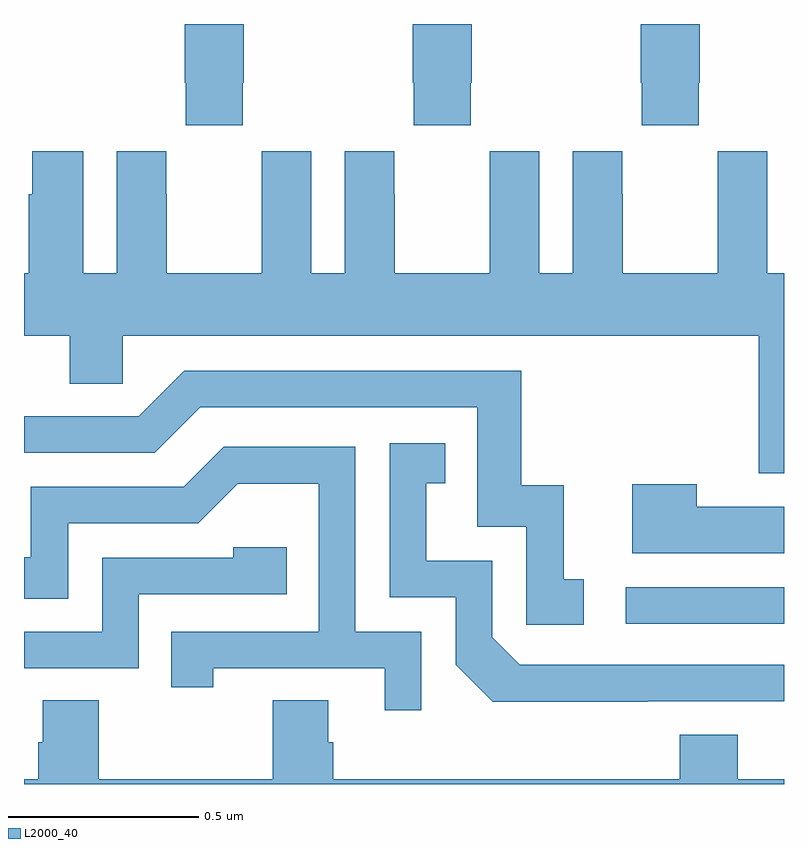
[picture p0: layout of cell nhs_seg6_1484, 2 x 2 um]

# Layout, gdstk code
import gdstk
lib = gdstk.Library(unit=1e-6, precision=1e-09)
def R(c, l, rs):  # rectangles x0, y0, x1, y1
    for r in rs: c.add(gdstk.rectangle(r[:2], r[2:], *l))
def P(c, l, *ps):  # polygons
    for p in ps: c.add(gdstk.Polygon(p, *l))
L2000_40 = (2000, 40)

nhs_seg6_1484 = lib.new_cell('nhs_seg6_1484')
R(nhs_seg6_1484, L2000_40, [(131.583,935.922,132,936.018)])
P(nhs_seg6_1484, L2000_40, [(131.775,937.345),(131.778,937.345),(131.778,937.5),(131.623,937.5),(131.623,937.345),(131.625,937.345),(131.625,937.233),(131.775,937.233)],
  [(131.175,937.345),(131.178,937.345),(131.178,937.5),(131.023,937.5),(131.023,937.345),(131.025,937.345),(131.025,937.233),(131.175,937.233)],
  [(130.575,937.345),(130.578,937.345),(130.578,937.5),(130.423,937.5),(130.423,937.345),(130.425,937.345),(130.425,937.233),(130.575,937.233)],
  [(132,936.844),(131.956,936.844),(131.956,937.165),(131.826,937.165),(131.826,937.052),(131.825,937.052),(131.825,936.844),(131.575,936.844),(131.575,937.052),(131.574,937.052),(131.574,937.165),(131.444,937.165),(131.444,936.844),(131.356,936.844),(131.356,937.165),(131.226,937.165),(131.226,937.052),(131.225,937.052),(131.225,936.844),(130.975,936.844),(130.975,937.052),(130.974,937.052),(130.974,937.165),(130.844,937.165),(130.844,936.844),(130.756,936.844),(130.756,937.165),(130.626,937.165),(130.626,937.052),(130.625,937.052),(130.625,936.844),(130.375,936.844),(130.375,937.052),(130.374,937.052),(130.374,937.165),(130.244,937.165),(130.244,936.844),(130.156,936.844),(130.156,937.165),(130.022,937.165),(130.022,937.052),(130.013,937.052),(130.013,936.844),(130,936.844),(130,936.68),(130.121,936.68),(130.121,936.553),(130.26,936.553),(130.26,936.68),(131.933,936.68),(131.933,936.318),(132,936.318)],
  [(131.473,936.039),(131.42,936.039),(131.42,936.286),(131.309,936.286),(131.309,936.588),(130.422,936.588),(130.302,936.468),(130,936.468),(130,936.372),(130.344,936.372),(130.464,936.492),(131.193,936.492),(131.193,936.177),(131.322,936.177),(131.322,935.919),(131.473,935.919)],
  [(131.642,935.718),(132,935.718),(132,935.814),(131.304,935.814),(131.232,935.886),(131.232,936.087),(131.059,936.087),(131.059,936.291),(131.108,936.291),(131.108,936.397),(130.962,936.397),(130.962,935.991),(131.136,935.991),(131.136,935.814),(131.234,935.717),(131.642,935.717)],
  [(131.046,935.901),(130.872,935.901),(130.872,936.387),(130.526,936.387),(130.421,936.282),(130.018,936.282),(130.018,936.097),(130,936.097),(130,935.988),(130.116,935.988),(130.116,936.186),(130.458,936.186),(130.562,936.29),(130.776,936.29),(130.776,935.901),(130.387,935.901),(130.387,935.754),(130.498,935.754),(130.498,935.805),(130.949,935.805),(130.949,935.694),(131.046,935.694)],
  [(132,936.229),(131.771,936.229),(131.771,936.289),(131.6,936.289),(131.6,936.107),(132,936.107)],
  [(130.302,936),(130.691,936),(130.691,936.123),(130.551,936.123),(130.551,936.096),(130.206,936.096),(130.206,935.901),(130,935.901),(130,935.805),(130.302,935.805)],
  [(132,935.512),(131.878,935.512),(131.878,935.629),(131.726,935.629),(131.726,935.512),(130.814,935.512),(130.814,935.61),(130.801,935.61),(130.801,935.72),(130.654,935.72),(130.654,935.512),(130.197,935.512),(130.197,935.72),(130.049,935.72),(130.049,935.61),(130.037,935.61),(130.037,935.512),(130,935.512),(130,935.5),(132,935.5)])

lib.write_gds('nhs_seg6_1484.gds')
